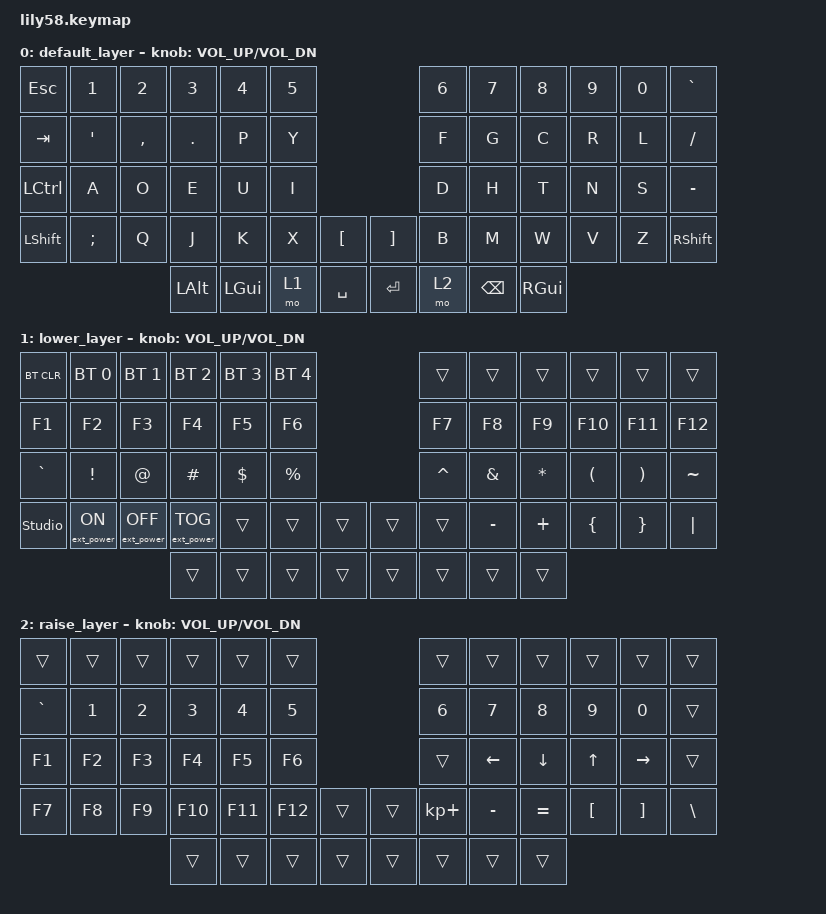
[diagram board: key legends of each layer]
/*
 * Copyright (c) 2020 The ZMK Contributors
 *
 * SPDX-License-Identifier: MIT
 */

#include <behaviors.dtsi>
#include <dt-bindings/zmk/keys.h>
#include <dt-bindings/zmk/bt.h>
#include <dt-bindings/zmk/ext_power.h>

/ {
    keymap {
        compatible = "zmk,keymap";

        default_layer {
// ------------------------------------------------------------------------------------------------------------
// |  ESC  |  1  |  2  |  3   |  4   |  5   |                   |  6   |  7    |  8    |  9   |   0   |   `   |
// |  TAB  |  '  |  ,  |  .   |  P   |  Y   |                   |  F   |  G    |  C    |  R   |   L   |   /   |
// |  CTRL |  A  |  O  |  E   |  U   |  I   |                   |  D   |  H    |  T    |  N   |   S   |   -   |
// | SHIFT |  ;  |  Q  |  J   |  K   |  X   |   "["  |  |  "]"  |  B   |  M    |  W    |  V   |   Z   | SHIFT |
//                     | ALT  | GUI  | LOWER|  SPACE |  | ENTER | RAISE| BSPC  | GUI   |
            bindings = <
&kp ESC   &kp N1 &kp N2 &kp N3   &kp N4   &kp N5                     &kp N6 &kp N7   &kp N8    &kp N9  &kp N0   &kp GRAVE
&kp TAB   &kp SQT &kp COMMA &kp DOT &kp P &kp Y                      &kp F  &kp G    &kp C     &kp R   &kp L    &kp FSLH
&kp LCTRL &kp A  &kp O  &kp E    &kp U    &kp I                      &kp D  &kp H    &kp T     &kp N   &kp S    &kp MINUS
&kp LSHFT &kp SEMI &kp Q &kp J   &kp K    &kp X  &kp LBKT   &kp RBKT &kp B  &kp M    &kp W     &kp V   &kp Z    &kp RSHFT
                        &kp LALT &kp LGUI &mo 1  &kp SPACE  &kp RET  &mo 2  &kp BSPC &kp RGUI
            >;

            sensor-bindings = <&inc_dec_kp C_VOL_UP C_VOL_DN>;
        };

        lower_layer {
// ------------------------------------------------------------------------------------------------------------
// | BTCLR | BT1 | BT2 |  BT3 |  BT4 |  BT5 |                   |      |       |       |      |       |       |
// |  F1   |  F2 |  F3 |  F4  |  F5  |  F6  |                   |  F7  |  F8   |  F9   |  F10 |  F11  |  F12  |
// |   `   |  !  |  @  |  #   |  $   |  %   |                   |  ^   |  &    |  *    |  (   |   )   |   ~   |
// | UNLOCK|     |     |      |      |      |        |  |       |      |  _    |  +    |  {   |   }   |  "|"  |
//                     |      |      |      |        |  |       |      |       |       |
            bindings = <
&bt BT_CLR &bt BT_SEL 0     &bt BT_SEL 1      &bt BT_SEL 2      &bt BT_SEL 3 &bt BT_SEL 4                 &trans    &trans    &trans    &trans    &trans    &trans
&kp F1     &kp F2           &kp F3            &kp F4            &kp F5       &kp F6                       &kp F7    &kp F8    &kp F9    &kp F10   &kp F11   &kp F12
&kp GRAVE  &kp EXCL         &kp AT            &kp HASH          &kp DOLLAR   &kp PRCNT                    &kp CARET &kp AMPS  &kp ASTRK &kp LPAR  &kp RPAR  &kp TILDE
&studio_unlock &ext_power EP_ON &ext_power EP_OFF &ext_power EP_TOG &trans       &trans    &trans   &trans    &trans    &kp MINUS &kp PLUS  &kp LBRC  &kp RBRC  &kp PIPE
                                              &trans            &trans       &trans    &trans   &trans    &trans    &trans    &trans
            >;

            sensor-bindings = <&inc_dec_kp C_VOL_UP C_VOL_DN>;
        };

        raise_layer {
// ------------------------------------------------------------------------------------------------------------
// |       |     |     |      |      |      |                   |      |       |       |      |       |       |
// |   `   |  1  |  2  |  3   |  4   |  5   |                   |  6   |   7   |   8   |  9   |   0   |       |
// |   F1  |  F2 |  F3 |  F4  |  F5  |  F6  |                   |      |   <-  |   v   |  ^   |  ->   |       |
// |   F7  |  F8 |  F9 |  F10 |  F11 |  F12 |        |  |       |  +   |   -   |   =   |  [   |   ]   |   \   |
//                     |      |      |      |        |  |       |      |       |       |
            bindings = <
&trans    &trans &trans &trans  &trans  &trans                       &trans      &trans    &trans    &trans   &trans    &trans
&kp GRAVE &kp N1 &kp N2 &kp N3  &kp N4  &kp N5                       &kp N6      &kp N7    &kp N8    &kp N9   &kp N0    &trans
&kp F1    &kp F2 &kp F3 &kp F4  &kp F5  &kp F6                       &trans      &kp LEFT  &kp DOWN  &kp UP   &kp RIGHT &trans
&kp F7    &kp F8 &kp F9 &kp F10 &kp F11 &kp F12   &trans   &trans    &kp KP_PLUS &kp MINUS &kp EQUAL &kp LBKT &kp RBKT  &kp BSLH
                        &trans  &trans  &trans    &trans   &trans    &trans      &trans    &trans
            >;

            sensor-bindings = <&inc_dec_kp C_VOL_UP C_VOL_DN>;
        };
    };
};



